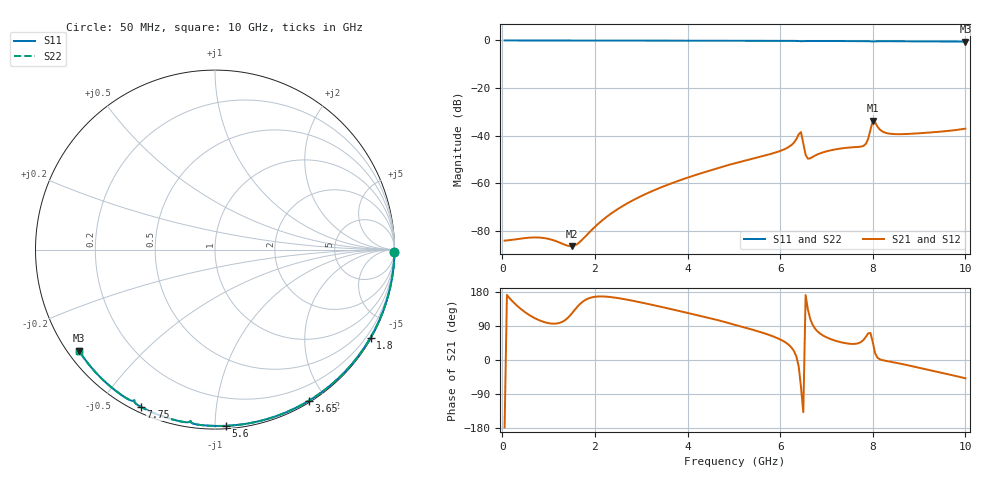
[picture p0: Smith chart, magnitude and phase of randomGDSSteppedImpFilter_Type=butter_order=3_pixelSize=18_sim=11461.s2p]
! freq	dB(S11)	phase(S11)	dB(S12)	phase(S12)
!  dB(S21)	phase(S21)	dB(S22)	phase(S22)
!S-par simulation data
#  GHz  S  DB  R 50
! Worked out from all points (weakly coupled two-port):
!   200 points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, 50 MHz to 10 GHz, reference 50 ohm
!   highest |S21| = -33.71 dB at 8 GHz (marker M1); lowest = -86.4 dB at 1.5 GHz (marker M2)
!   lowest |S11| = -0.5 dB at 10 GHz (marker M3), VSWR 35.09, Z = 1.58 - j16.5 ohm
!   |S11| at or under -10 dB: nowhere
!   |S22| runs from -0.5 to 0.0 dB; largest |S21 - S12| = 0
!   S11 on the Smith chart (normalised r, x): 50 MHz: open; 1.8 GHz: 0.03, -3.80; 3.65 GHz: 0.02, -1.79; 5.6 GHz: 0.02, -1.06; 7.75 GHz: 0.02, -0.64; 10 GHz: 0.03, -0.33
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0.05  -0.00 -0.8  -84.10 -177.7  -84.10 -177.7  -0.00 -0.8
1.5  -0.03 -24.7  -86.41 122.5  -86.41 122.5  -0.03 -24.7
1.75  -0.04 -28.7  -83.21 155.1  -83.21 155.1  -0.04 -28.7
1.8  -0.04 -29.5  -82.21 158.9  -82.21 158.9  -0.04 -29.5
1.9  -0.04 -31.1  -80.20 164.2  -80.20 164.2  -0.04 -31.1
2.65  -0.06 -42.9  -68.96 160.2  -68.96 160.2  -0.06 -42.9
3.4  -0.07 -54.5  -61.93 141.1  -61.93 141.1  -0.07 -54.5
3.65  -0.08 -58.3  -60.04 134.2  -60.04 134.2  -0.08 -58.3
5.05  -0.12 -78.7  -51.48 91.9  -51.48 91.9  -0.12 -78.7
5.6  -0.14 -86.4  -48.73 72.7  -48.73 72.7  -0.14 -86.4
6.2  -0.17 -94.8  -44.55 38.5  -44.55 38.5  -0.17 -94.8
6.45  -0.32 -98.2  -38.47 -71.3  -38.47 -71.3  -0.32 -98.2
6.55  -0.23 -98.9  -48.08 171.5  -48.08 171.5  -0.23 -98.9
6.6  -0.22 -99.7  -49.67 132.6  -49.67 132.6  -0.22 -99.7
6.7  -0.21 -101.1  -48.94 93.1  -48.94 93.1  -0.21 -101.1
7.1  -0.23 -106.5  -46.11 54.8  -46.11 54.8  -0.23 -106.5
7.75  -0.27 -115.1  -44.57 47.9  -44.57 47.9  -0.27 -115.1
7.9  -0.31 -117.2  -41.40 70.3  -41.40 70.3  -0.31 -117.2
8  -0.42 -118.1  -33.71 47.3  -33.71 47.3  -0.42 -118.1
8.15  -0.32 -119.7  -37.37 2.0  -37.37 2.0  -0.32 -119.7
8.35  -0.32 -122.4  -39.12 -3.8  -39.12 -3.8  -0.32 -122.4
10  -0.50 -143.3  -37.04 -48.3  -37.04 -48.3  -0.50 -143.3
